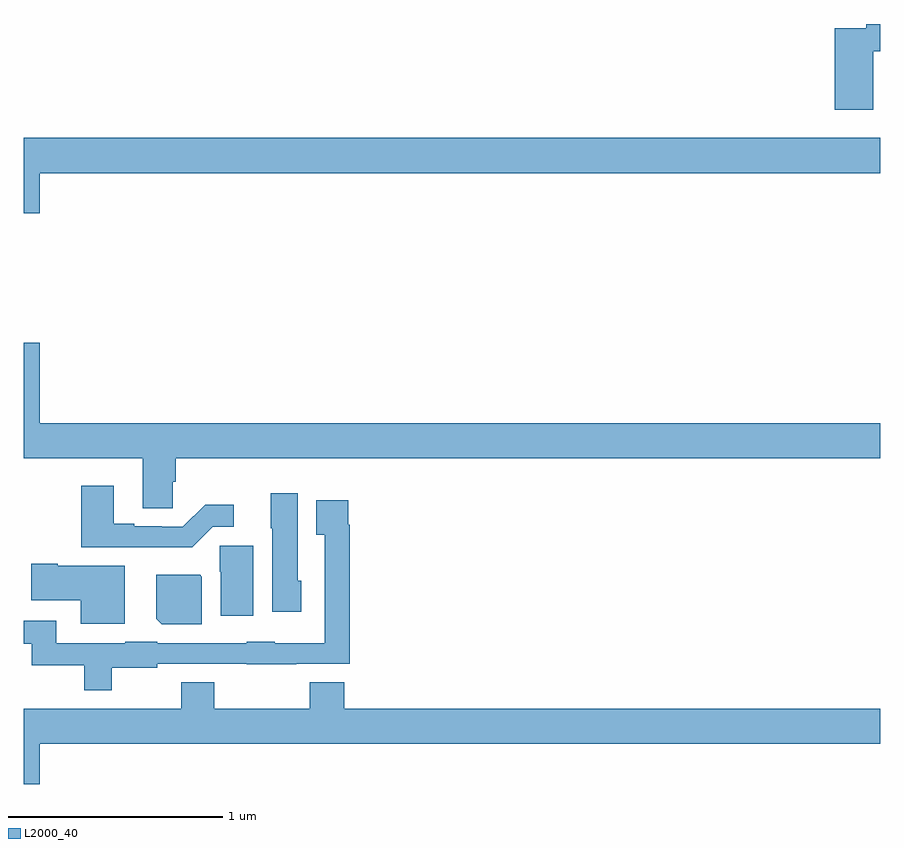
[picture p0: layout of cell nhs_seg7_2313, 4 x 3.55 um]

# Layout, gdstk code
import gdstk
lib = gdstk.Library(unit=1e-6, precision=1e-09)
def P(c, l, *ps):  # polygons
    for p in ps: c.add(gdstk.Polygon(p, *l))
L2000_40 = (2000, 40)

nhs_seg7_2313 = lib.new_cell('nhs_seg7_2313')
P(nhs_seg7_2313, L2000_40, [(264.966,1051.8),(265,1051.8),(265,1051.928),(264.934,1051.928),(264.934,1051.908),(264.788,1051.908),(264.788,1051.527),(264.966,1051.527)],
  [(261.076,1051.232),(265,1051.232),(265,1051.396),(261,1051.396),(261,1051.044),(261.076,1051.044)],
  [(261.696,1049.79),(261.71,1049.79),(261.71,1049.9),(265,1049.9),(265,1050.064),(261.076,1050.064),(261.076,1050.439),(261,1050.439),(261,1049.9),(261.557,1049.9),(261.557,1049.668),(261.696,1049.668)],
  [(261.882,1049.58),(261.982,1049.58),(261.982,1049.683),(261.847,1049.683),(261.744,1049.58),(261.644,1049.58),(261.644,1049.583),(261.517,1049.583),(261.517,1049.596),(261.421,1049.596),(261.421,1049.773),(261.269,1049.773),(261.269,1049.486),(261.787,1049.486)],
  [(262.297,1049.328),(262.279,1049.328),(262.279,1049.737),(262.154,1049.737),(262.154,1049.574),(262.16,1049.574),(262.16,1049.184),(262.297,1049.184)],
  [(261.412,1048.922),(261.624,1048.922),(261.624,1048.941),(262.041,1048.941),(262.041,1048.94),(262.273,1048.94),(262.273,1048.941),(262.523,1048.941),(262.523,1049.591),(262.516,1049.591),(262.516,1049.704),(262.367,1049.704),(262.367,1049.543),(262.407,1049.543),(262.407,1049.038),(262.173,1049.038),(262.173,1049.044),(262.041,1049.044),(262.041,1049.037),(261.624,1049.037),(261.624,1049.044),(261.474,1049.044),(261.474,1049.038),(261.153,1049.038),(261.153,1049.142),(261,1049.142),(261,1049.034),(261.037,1049.034),(261.037,1048.934),(261.283,1048.934),(261.283,1048.817),(261.412,1048.817)],
  [(262.072,1049.493),(261.916,1049.493),(261.916,1049.37),(261.92,1049.37),(261.92,1049.166),(262.072,1049.166)],
  [(261.472,1049.398),(261.159,1049.398),(261.159,1049.408),(261.036,1049.408),(261.036,1049.237),(261.266,1049.237),(261.266,1049.129),(261.472,1049.129)],
  [(261.832,1049.348),(261.824,1049.356),(261.62,1049.356),(261.62,1049.152),(261.646,1049.126),(261.832,1049.126)],
  [(261.076,1048.568),(265,1048.568),(265,1048.732),(262.496,1048.732),(262.496,1048.856),(262.336,1048.856),(262.336,1048.732),(261.891,1048.732),(261.891,1048.856),(261.736,1048.856),(261.736,1048.732),(261,1048.732),(261,1048.38),(261.076,1048.38)])

lib.write_gds('nhs_seg7_2313.gds')
